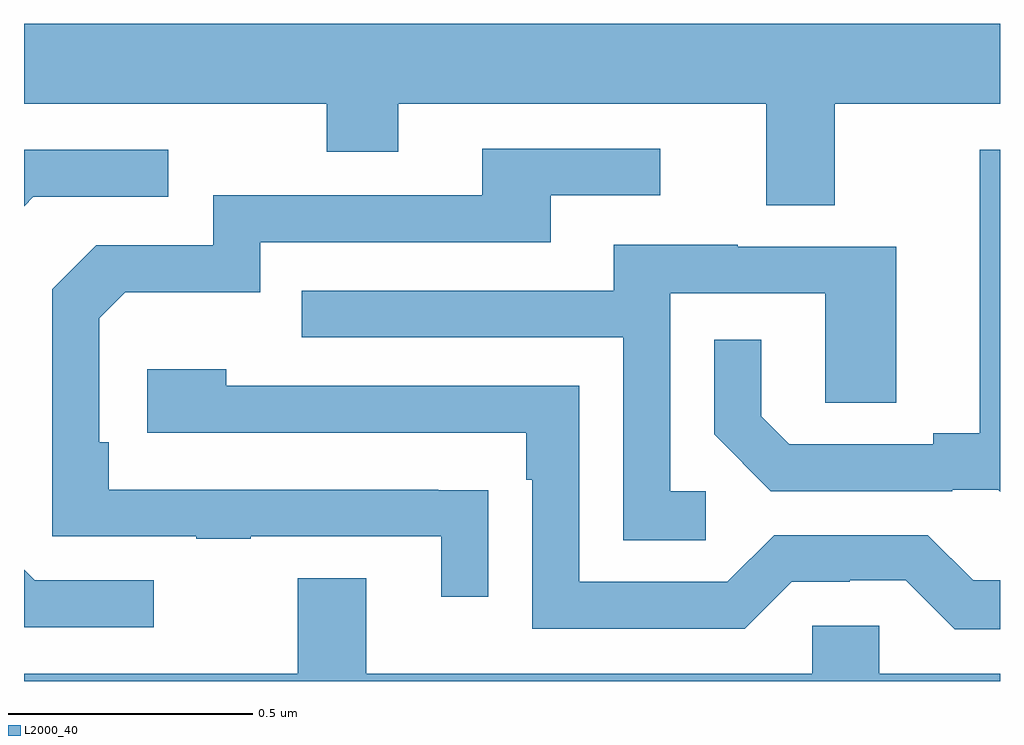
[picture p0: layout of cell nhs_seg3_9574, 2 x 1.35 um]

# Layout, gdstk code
import gdstk
lib = gdstk.Library(unit=1e-6, precision=1e-09)
def P(c, l, *ps):  # polygons
    for p in ps: c.add(gdstk.Polygon(p, *l))
L2000_40 = (2000, 40)

nhs_seg3_9574 = lib.new_cell('nhs_seg3_9574')
P(nhs_seg3_9574, L2000_40, [(231.661,699.584),(232,699.584),(232,699.748),(230,699.748),(230,699.584),(230.62,699.584),(230.62,699.485),(230.767,699.485),(230.767,699.584),(231.521,699.584),(231.521,699.376),(231.661,699.376)],
  [(230.951,698.792),(230.849,698.792),(230.849,698.793),(230.174,698.793),(230.174,698.89),(230.154,698.89),(230.154,699.144),(230.207,699.197),(230.484,699.197),(230.484,699.3),(231.079,699.3),(231.079,699.396),(231.304,699.396),(231.304,699.492),(230.939,699.492),(230.939,699.396),(230.388,699.396),(230.388,699.294),(230.148,699.294),(230.058,699.204),(230.058,698.697),(230.353,698.697),(230.353,698.692),(230.465,698.692),(230.465,698.697),(230.855,698.697),(230.855,698.574),(230.951,698.574)],
  [(232,699.489),(231.959,699.489),(231.959,698.909),(231.863,698.909),(231.863,698.886),(231.568,698.886),(231.511,698.943),(231.511,699.1),(231.414,699.1),(231.414,698.906),(231.53,698.79),(231.902,698.79),(231.902,698.793),(231.996,698.793),(232,698.789)],
  [(230.019,699.393),(230.296,699.393),(230.296,699.489),(230,699.489),(230,699.374)],
  [(231.397,698.79),(231.324,698.79),(231.324,699.195),(231.642,699.195),(231.642,698.971),(231.787,698.971),(231.787,699.291),(231.463,699.291),(231.463,699.295),(231.209,699.295),(231.209,699.201),(230.569,699.201),(230.569,699.105),(231.228,699.105),(231.228,698.689),(231.397,698.689)],
  [(232,698.607),(231.945,698.607),(231.852,698.7),(231.537,698.7),(231.441,698.604),(231.138,698.604),(231.138,699.006),(230.414,699.006),(230.414,699.04),(230.253,699.04),(230.253,698.91),(231.029,698.91),(231.029,698.813),(231.042,698.813),(231.042,698.508),(231.477,698.508),(231.573,698.604),(231.692,698.604),(231.692,698.607),(231.807,698.607),(231.907,698.507),(232,698.507)],
  [(230.266,698.607),(230.022,698.607),(230,698.629),(230,698.511),(230.266,698.511)],
  [(232,698.416),(231.753,698.416),(231.753,698.514),(231.615,698.514),(231.615,698.416),(230.701,698.416),(230.701,698.611),(230.561,698.611),(230.561,698.416),(230,698.416),(230,698.4),(232,698.4)])

lib.write_gds('nhs_seg3_9574.gds')
